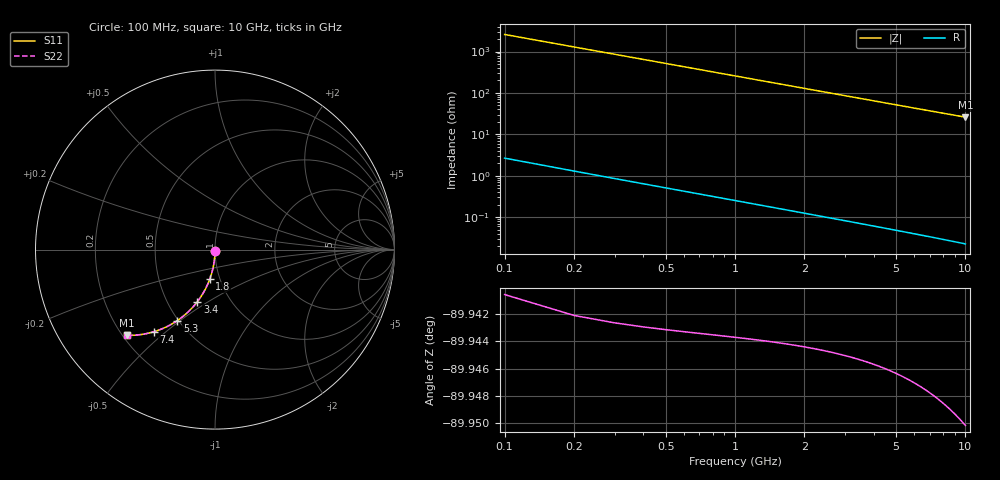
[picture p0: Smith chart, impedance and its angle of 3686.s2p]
# Hz S RI R 50.00
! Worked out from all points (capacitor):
!   100 points, 100 MHz to 10 GHz, reference 50 ohm
!   read as one part in shunt: C = 618 fF near 100 MHz
!   lowest |Z| = 26.1 ohm at 10 GHz (marker M1)
!   S11 on the Smith chart (normalised r, x): 100 MHz: 1.00, -0.02; 1.8 GHz: 0.89, -0.30; 3.4 GHz: 0.70, -0.45; 5.3 GHz: 0.49, -0.49; 7.4 GHz: 0.33, -0.46; 10 GHz: 0.22, -0.39
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1e8  2.97e-05 -0.00949  0.9998 -0.00992  0.9998 -0.00992  2.97e-05 -0.00949
2e8  -0.000261 -0.019  0.9995 -0.0198  0.9995 -0.0198  -0.000261 -0.019
3e8  -0.00074 -0.0284  0.999 -0.0297  0.999 -0.0297  -0.00074 -0.0284
4e8  -0.00141 -0.0379  0.9983 -0.0396  0.9983 -0.0396  -0.00141 -0.0379
5e8  -0.00226 -0.0473  0.9975 -0.0495  0.9975 -0.0495  -0.00226 -0.0473
6e8  -0.0033 -0.0567  0.9964 -0.0593  0.9964 -0.0593  -0.0033 -0.0567
8e8  -0.00592 -0.0754  0.9938 -0.0789  0.9938 -0.0789  -0.00592 -0.0754
9e8  -0.00751 -0.0847  0.9922 -0.0886  0.9922 -0.0886  -0.00751 -0.0847
1.1e9  -0.0112 -0.1032  0.9885 -0.1079  0.9885 -0.1079  -0.0112 -0.1032
1.4e9  -0.0181 -0.1304  0.9816 -0.1364  0.9816 -0.1364  -0.0181 -0.1304
1.8e9  -0.0296 -0.1656  0.9701 -0.1733  0.9701 -0.1733  -0.0296 -0.1656
2.1e9  -0.0399 -0.1911  0.9598 -0.2002  0.9598 -0.2002  -0.0399 -0.1911
2.5e9  -0.0557 -0.2238  0.944 -0.2345  0.944 -0.2345  -0.0557 -0.2238
2.9e9  -0.0735 -0.2546  0.9261 -0.267  0.9261 -0.267  -0.0735 -0.2546
3.4e9  -0.0984 -0.2903  0.9012 -0.305  0.9012 -0.305  -0.0984 -0.2903
4.2e9  -0.1429 -0.3407  0.8566 -0.3588  0.8566 -0.3588  -0.1429 -0.3407
5.1e9  -0.1976 -0.3869  0.8019 -0.4089  0.8019 -0.4089  -0.1976 -0.3869
5.3e9  -0.2101 -0.3956  0.7893 -0.4185  0.7893 -0.4185  -0.2101 -0.3956
6.7e9  -0.2988 -0.4429  0.7004 -0.4719  0.7004 -0.4719  -0.2988 -0.4429
7.4e9  -0.3424 -0.4581  0.6568 -0.4902  0.6568 -0.4902  -0.3424 -0.4581
8.4e9  -0.4021 -0.4717  0.5969 -0.5081  0.5969 -0.5081  -0.4021 -0.4717
1e10  -0.4891 -0.4776  0.5096 -0.5211  0.5096 -0.5211  -0.4891 -0.4776
